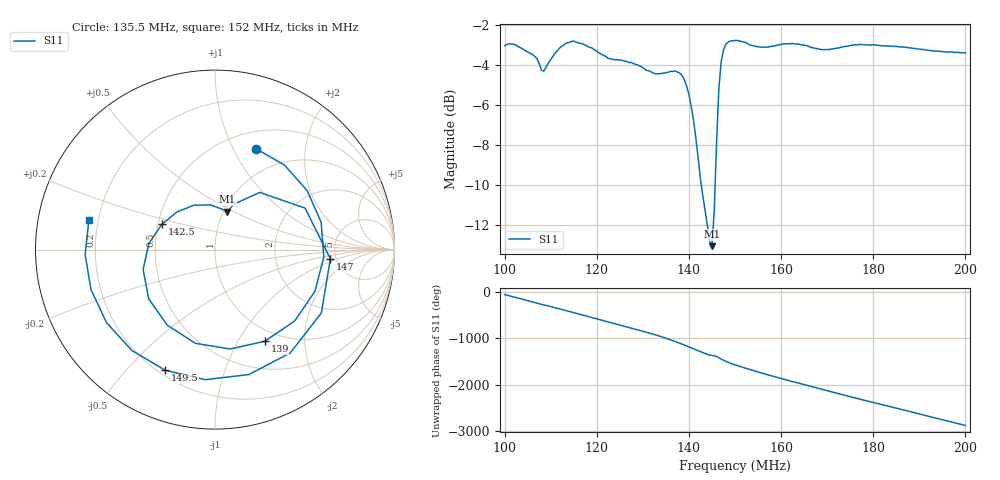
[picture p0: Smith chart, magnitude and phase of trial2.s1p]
#  HZ  S  RI  R  50.00
! Rohde & Schwarz ZVA40 2Ports - Version 3.12 - 1145.1110k40 SN: 100360
! Date: 2019-07-29 16:22:07
! Measurement: S11
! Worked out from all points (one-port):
!   201 points, 100 MHz to 200 MHz, reference 50 ohm
!   lowest |S11| = -13.1 dB at 145 MHz (marker M1), VSWR 1.57, Z = 52.1 + j23.2 ohm
!   |S11| at or under -10 dB: 142.7 MHz to 145.7 MHz (2.993 MHz wide, 2.08 % of centre)
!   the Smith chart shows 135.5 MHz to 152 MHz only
!   S11 on the Smith chart (normalised r, x): 135.5 MHz: 0.69, +1.23; 139 MHz: 0.85, -1.30; 142.5 MHz: 0.52, +0.17; 147 MHz: 4.49, -0.79; 149.5 MHz: 0.23, -0.65; 152 MHz: 0.16, +0.11
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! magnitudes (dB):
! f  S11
! 100 MHz  -3.0
! 106 MHz  -3.5
! 108.5 MHz  -4.3
! 112.5 MHz  -3.0
! 115 MHz  -2.8
! 125 MHz  -3.7
! 132.5 MHz  -4.4
! 135.5 MHz  -4.3
! 137.5 MHz  -4.3
! 139 MHz  -4.7
! 140 MHz  -5.5
! 141 MHz  -6.7
! 142.5 MHz  -9.7
! 144.5 MHz  -12.8
! 145 MHz  -13.1
! 145.5 MHz  -11.3
! 146 MHz  -7.9
! 146.5 MHz  -5.2
! 147 MHz  -3.8
! 148 MHz  -2.9
! 149.5 MHz  -2.8
! 150 MHz  -2.8
! 152 MHz  -2.8
! 162.5 MHz  -2.9
! 169.5 MHz  -3.2
! 175 MHz  -3.0
! 187.5 MHz  -3.1
! 200 MHz  -3.4
